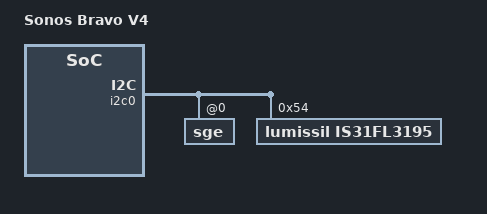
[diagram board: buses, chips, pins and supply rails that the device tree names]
/*
 * Copyright (c) 2020-2022, Sonos, Inc.
 *
 * SPDX-License-Identifier:     GPL-2.0
 */
/* Bravo HW versions
 * 	V0 - bravo_v0.dts    - Bravo P0 build
 *	V1 - bravo_v1.dts    - Bravo P1 build
 *      V2 - bravo_v2.dts    - Bravo P2 build
 *      V3 - bravo_v3.dts    - Bravo parts replacement build - Ghostbusters 21
 *					Replacing LED controller, temp sensor, PSoC, HDMI fault circuit
 *      V4 - bravo_v4.dts    - Bravo parts replacement build - Ghostbusters 21
 *					HDMI circuit reverted, Lumissil LED, temp-sensor unchanged
 */

/dts-v1/;
#include "bravo.dtsi"

/ {
	model = "Sonos Bravo V4";

	sonos-platform {
		thermal-mgmt {
			/delete-node/ AMP;
		};
	};
};

&i2c0 {
	sge@0 {  // Sigdetail Gesture Engine
		psoc-images {
			image@1 {
				model-num = <4248>;
				ident = <0xbf>;
				flash-rows = <1024>;
				flash-row-size = <256>;
				flash-protection-size = <128>;
			};
		};
	};
	/delete-node/ lp5562@0;

	is31fl3195@54 {  // LED controller
                compatible = "lumissil,is31fl3195";
                reg = <0x54>;
        };
};

